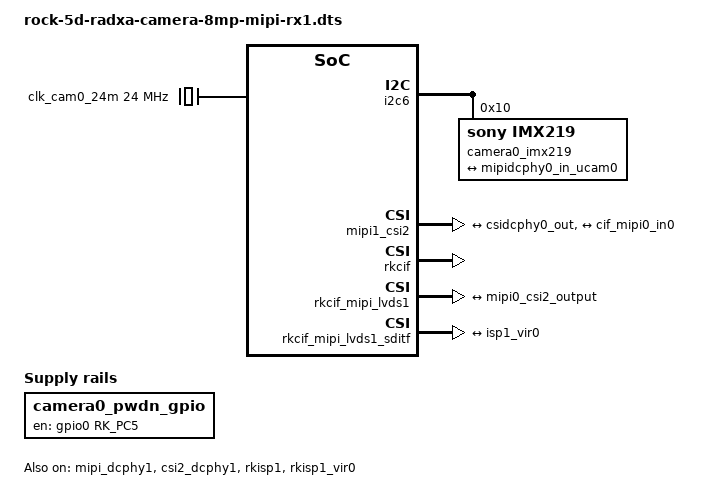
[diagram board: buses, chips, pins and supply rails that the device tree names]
/dts-v1/;
/plugin/;

#include <dt-bindings/gpio/gpio.h>
#include <dt-bindings/pinctrl/rockchip.h>

/ {
	metadata {
		title ="Enable Radxa Camera 8MP on the MIPI-RX1 connector";
		compatible = "radxa,rock-5d";
		category = "camera";
		exclusive = "csi2_dcphy1";
		description = "Enable Radxa Camera 8MP on the MIPI-RX1 connector.";
	};
};

&{/} {
	camera0_pwdn_gpio: camera0-pwdn-gpio {
		compatible = "regulator-fixed";
		regulator-name = "camera0_pwdn_gpio";
		regulator-always-on;
		regulator-boot-on;
		enable-active-high;
		gpio = <&gpio0 RK_PC5 GPIO_ACTIVE_HIGH>;
		pinctrl-names = "default";
		pinctrl-0 = <&cam0_pwdn_gpio>;
	};

	clk_cam0_24m: external-camera-clock-24m {
		compatible = "fixed-clock";
		clock-frequency = <24000000>;
		clock-output-names = "clk_cam0_24m";
		#clock-cells = <0>;
	};
};

&i2c6 {
	status = "okay";
	pinctrl-names = "default";
	pinctrl-0 = <&i2c6m0_xfer>;

	camera0_imx219: camera0-imx219@10 {
		compatible = "sony,imx219";
		reg = <0x10>;

		clocks = <&clk_cam0_24m>;
		clock-names = "xvclk";

		rockchip,camera-module-index = <1>;
		rockchip,camera-module-facing = "back";
		rockchip,camera-module-name = "RADXA-CAMERA-8M";
		rockchip,camera-module-lens-name = "default";

		port {
			imx219_out0: endpoint {
				remote-endpoint = <&mipidcphy0_in_ucam0>;
				data-lanes = <1 2>;
			};
		};
	};
};

&mipi_dcphy1 {
	status = "okay";
};

&csi2_dcphy1 {
	status = "okay";

	ports {
		#address-cells = <1>;
		#size-cells = <0>;

		port@0 {
			reg = <0>;
			#address-cells = <1>;
			#size-cells = <0>;

			mipidcphy0_in_ucam0: endpoint@2 {
				reg = <2>;
				remote-endpoint = <&imx219_out0>;
				data-lanes = <1 2>;
			};
		};

		port@1 {
			reg = <1>;
			#address-cells = <1>;
			#size-cells = <0>;

			csidcphy0_out: endpoint@0 {
				reg = <0>;
				remote-endpoint = <&mipi0_csi2_input>;
			};
		};
	};
};

&mipi1_csi2 {
	status = "okay";

	ports {
		#address-cells = <1>;
		#size-cells = <0>;

		port@0 {
			reg = <0>;
			#address-cells = <1>;
			#size-cells = <0>;

			mipi0_csi2_input: endpoint@1 {
				reg = <1>;
				remote-endpoint = <&csidcphy0_out>;
			};
		};

		port@1 {
			reg = <1>;
			#address-cells = <1>;
			#size-cells = <0>;

			mipi0_csi2_output: endpoint@0 {
				reg = <0>;
				remote-endpoint = <&cif_mipi0_in0>;
			};
		};
	};
};

&rkcif {
	status = "okay";
};

&rkcif_mipi_lvds1 {
	status = "okay";

	port {
		cif_mipi0_in0: endpoint {
			remote-endpoint = <&mipi0_csi2_output>;
		};
	};
};

&rkcif_mipi_lvds1_sditf {
	status = "okay";

	port {
		mipi_lvds_sditf: endpoint {
			remote-endpoint = <&isp1_vir0>;
		};
	};
};

&rkcif_mmu {
	status = "okay";
};

&isp1_mmu {
	status = "okay";
};

&rkisp1 {
	status = "okay";
};

&rkisp1_vir0 {
	status = "okay";

	port {
		#address-cells = <1>;
		#size-cells = <0>;

		isp1_vir0: endpoint@0 {
			reg = <0>;
			remote-endpoint = <&mipi_lvds_sditf>;
		};
	};
};

&pinctrl {
	camera {
		cam0_pwdn_gpio: cam0-pwdn-gpio {
			rockchip,pins = <0 RK_PC5 RK_FUNC_GPIO &pcfg_pull_up>;
		};
	};
};
